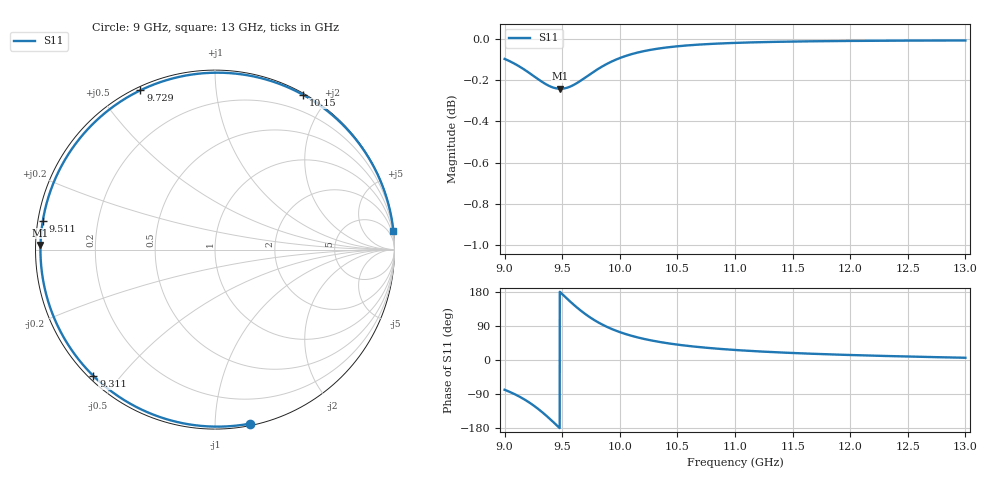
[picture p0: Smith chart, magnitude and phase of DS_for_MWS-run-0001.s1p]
! TOUCHSTONE file generated by CST DESIGN STUDIO
! Date and time: Tue Feb  4 13:00:54 2025
! Project name: C:\Work\MatlabApps\UnitCellOptimizationMatlab\CST\unitcell.cst
! Tree item: Tasks\Sweep1\SPara1\S-Parameters
! Header version: 2024
! Port assignment regex: !\s*Touchstone port\s*([0-9]+)\s*=\s*(CST MWS port|CST DES external port|CST DES block port)\s*(.+)\s* \(\"(.*)\"\)(\s*mode\s*([0-9]+))?.*
! Touchstone port assignment:
! Touchstone port 1 = CST DES external port 1 ("")
# GHz S MA R 50
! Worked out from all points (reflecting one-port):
!   4001 points, 9 GHz to 13 GHz, reference 50 ohm
!   lowest |S11| = -0.2 dB at 9.484 GHz (marker M1), VSWR 71.93, Z = 0.695 + j0.651 ohm
!   phase of S11 starts at -79 deg and turns -276 deg over the sweep
!   S11 on the Smith chart (normalised r, x): 9 GHz: 0.01, -1.22; 9.311 GHz: 0.01, -0.43; 9.511 GHz: 0.01, +0.08; 9.729 GHz: 0.01, +0.64; 10.15 GHz: 0.02, +1.72; 13 GHz: 0, +19
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9  0.989 -78.5
9.078  0.9866 -88.8
9.177  0.9828 -105.0
9.246  0.9798 -118.8
9.311  0.9769 -133.9
9.357  0.9751 -145.7
9.405  0.9736 -158.8
9.445  0.9728 -170.2
9.484  0.9726 178.5
9.5  0.9726 173.9
9.511  0.9727 170.7
9.564  0.9736 155.6
9.624  0.9755 139.6
9.676  0.9776 126.8
9.729  0.98 115.1
9.784  0.9823 104.3
9.844  0.9847 94.1
9.921  0.9873 83.0
10  0.9894 73.6
10.146  0.9924 60.3
10.306  0.9944 49.7
10.5  0.996 40.6
10.722  0.9971 33.1
11  0.9979 26.5
11.5  0.9986 18.5
12  0.999 13.2
12.5  0.9991 9.2
13  0.9992 5.9
